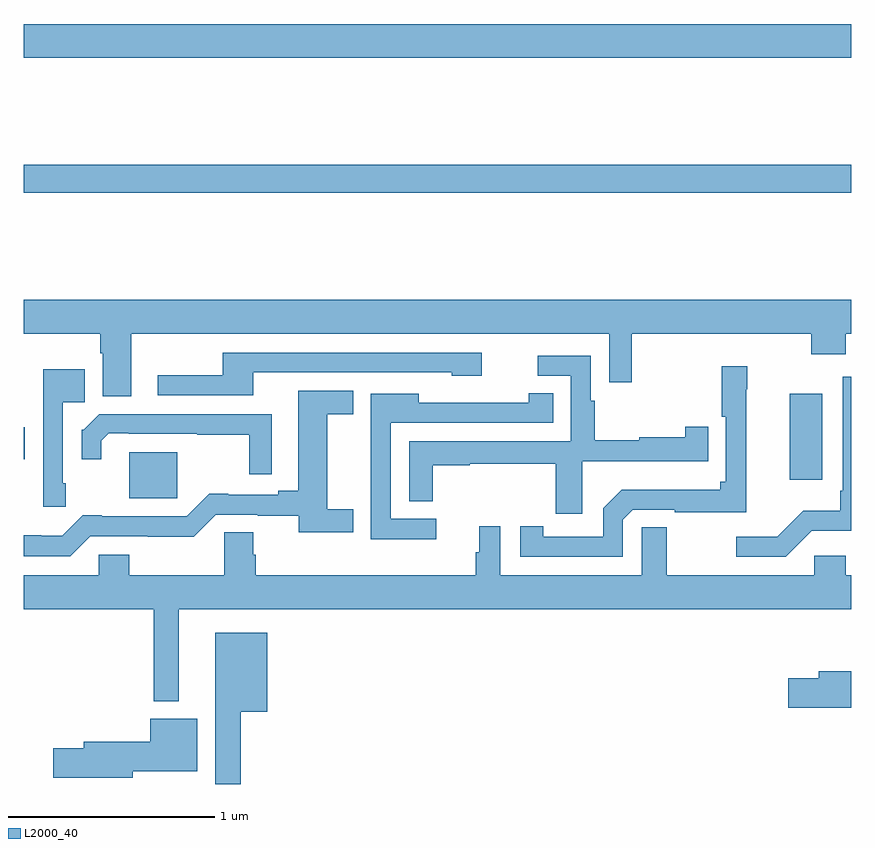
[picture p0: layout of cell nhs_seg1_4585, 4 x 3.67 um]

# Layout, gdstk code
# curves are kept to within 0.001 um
import gdstk
lib = gdstk.Library(unit=1e-6, precision=1e-09)
def R(c, l, rs):  # rectangles x0, y0, x1, y1
    for r in rs: c.add(gdstk.rectangle(r[:2], r[2:], *l))
def P(c, l, *ps):  # polygons
    for p in ps: c.add(gdstk.Polygon(p, *l))
L2000_40 = (2000, 40)

nhs_seg1_4585 = lib.new_cell('nhs_seg1_4585')
R(nhs_seg1_4585, L2000_40, [(359.51,573.581,359.743,573.802), (362.702,573.669,362.86,574.084), (359,573.769,359.005,573.924), (359,575.056,363,575.192), (359,575.708,363,575.872)])
P(nhs_seg1_4585, L2000_40, [(359.521,574.376),(361.83,574.376),(361.83,574.14),(361.939,574.14),(361.939,574.376),(362.807,574.376),(362.807,574.277),(362.972,574.277),(362.972,574.376),(363,574.376),(363,574.54),(359,574.54),(359,574.376),(359.369,574.376),(359.369,574.28),(359.381,574.28),(359.381,574.072),(359.521,574.072)],
  [(360.109,574.188),(361.068,574.188),(361.068,574.172),(361.213,574.172),(361.213,574.284),(359.962,574.284),(359.962,574.175),(359.649,574.175),(359.649,574.077),(360.109,574.077)],
  [(361.699,573.758),(362.309,573.758),(362.309,573.925),(362.198,573.925),(362.198,573.875),(361.974,573.875),(361.974,573.86),(361.76,573.86),(361.76,574.052),(361.74,574.052),(361.74,574.269),(361.485,574.269),(361.485,574.173),(361.644,574.173),(361.644,573.855),(360.864,573.855),(360.864,573.565),(360.976,573.565),(360.976,573.739),(361.157,573.739),(361.157,573.747),(361.571,573.747),(361.571,573.504),(361.699,573.504)],
  [(361.896,573.477),(361.944,573.525),(362.147,573.525),(362.147,573.513),(362.492,573.513),(362.492,574.106),(362.498,574.106),(362.498,574.219),(362.374,574.219),(362.374,573.974),(362.394,573.974),(362.394,573.66),(362.366,573.66),(362.366,573.622),(361.891,573.622),(361.8,573.531),(361.8,573.393),(361.51,573.393),(361.51,573.445),(361.401,573.445),(361.401,573.297),(361.896,573.297)],
  [(359.203,573.652),(359.19,573.652),(359.19,574.044),(359.296,574.044),(359.296,574.204),(359.094,574.204),(359.094,573.54),(359.203,573.54)],
  [(362.809,573.423),(363,573.423),(363,574.167),(362.958,574.167),(362.958,573.616),(362.946,573.616),(362.946,573.52),(362.768,573.52),(362.642,573.394),(362.445,573.394),(362.445,573.297),(362.683,573.297)],
  [(359.322,573.396),(359.822,573.395),(359.928,573.501),(360.132,573.501),(360.132,573.496),(360.329,573.496),(360.329,573.416),(360.593,573.416),(360.593,573.527),(360.466,573.527),(360.466,573.985),(360.593,573.985),(360.593,574.099),(360.326,574.099),(360.326,573.617),(360.23,573.617),(360.23,573.597),(359.989,573.597),(359.989,573.602),(359.897,573.602),(359.787,573.492),(359.377,573.492),(359.377,573.497),(359.285,573.497),(359.187,573.399),(359,573.4),(359,573.299),(359.225,573.299)],
  [(360.994,573.48),(360.774,573.48),(360.774,573.945),(361.559,573.945),(361.559,574.088),(361.441,574.088),(361.441,574.042),(360.91,574.042),(360.91,574.084),(360.678,574.084),(360.678,573.848),(360.677,573.848),(360.677,573.613),(360.678,573.613),(360.678,573.383),(360.994,573.383)],
  [(360.198,573.987),(359.366,573.987),(359.291,573.912),(359.28,573.912),(359.28,573.768),(359.375,573.768),(359.375,573.858),(359.41,573.894),(359.509,573.894),(359.509,573.891),(359.839,573.891),(359.839,573.886),(360.09,573.886),(360.09,573.696),(360.198,573.696)],
  [(359.749,573.044),(363,573.044),(363,573.208),(362.972,573.208),(362.972,573.301),(362.82,573.301),(362.82,573.208),(362.109,573.208),(362.109,573.44),(361.986,573.44),(361.986,573.208),(361.303,573.208),(361.303,573.445),(361.202,573.445),(361.202,573.318),(361.185,573.318),(361.185,573.208),(360.122,573.208),(360.122,573.306),(360.109,573.306),(360.109,573.416),(359.97,573.416),(359.97,573.208),(359.511,573.208),(359.511,573.306),(359.364,573.306),(359.364,573.208),(359,573.208),(359,573.044),(359.628,573.044),(359.628,572.6),(359.749,572.6)],
  [(360.049,572.549),(360.178,572.549),(360.178,572.929),(359.927,572.929),(359.927,572.199),(360.049,572.199)],
  [(363,572.743),(362.843,572.743),(362.843,572.709),(362.694,572.709),(362.694,572.567),(363,572.567)],
  [(359.526,572.261),(359.839,572.261),(359.839,572.515),(359.612,572.515),(359.612,572.402),(359.291,572.402),(359.291,572.372),(359.142,572.372),(359.142,572.23),(359.526,572.23)])

lib.write_gds('nhs_seg1_4585.gds')
